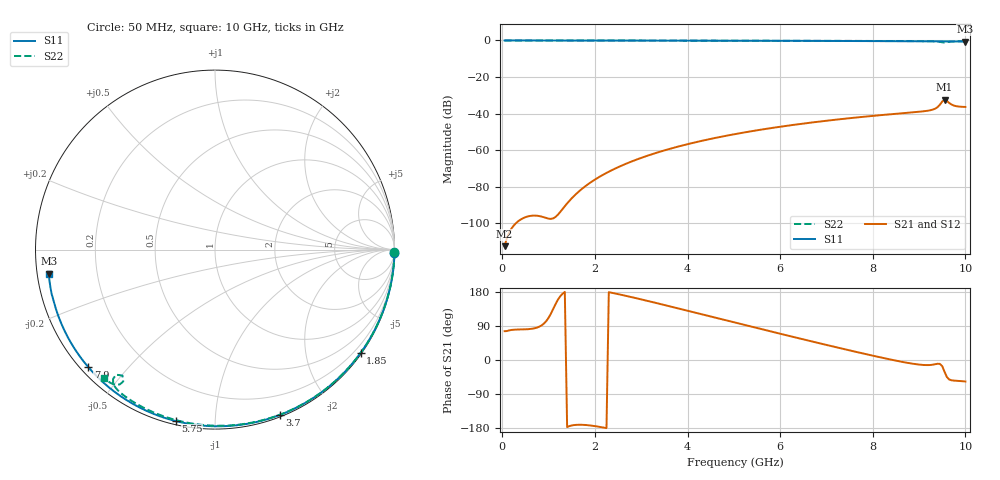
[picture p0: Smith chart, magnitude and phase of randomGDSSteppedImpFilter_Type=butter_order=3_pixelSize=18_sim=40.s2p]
! freq	dB(S11)	phase(S11)	dB(S12)	phase(S12)
!  dB(S21)	phase(S21)	dB(S22)	phase(S22)
!S-par simulation data
#  GHz  S  DB  R 50
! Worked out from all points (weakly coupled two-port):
!   200 points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, 50 MHz to 10 GHz, reference 50 ohm
!   highest |S21| = -32.36 dB at 9.55 GHz (marker M1); lowest = -112.4 dB at 50 MHz (marker M2)
!   lowest |S11| = -0.6 dB at 10 GHz (marker M3), VSWR 30.32, Z = 1.66 - j3.57 ohm
!   |S11| at or under -10 dB: nowhere
!   |S22| runs from -1.2 to 0.0 dB; largest |S21 - S12| = 0
!   S11 on the Smith chart (normalised r, x): 50 MHz: open; 1.85 GHz: 0.03, -3.14; 3.7 GHz: 0.02, -1.46; 5.75 GHz: 0.02, -0.80; 7.9 GHz: 0.02, -0.39; 10 GHz: 0.03, -0.07
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0.05  -0.00 -1.0  -112.44 76.0  -112.44 76.0  -0.00 -0.8
0.85  -0.02 -16.4  -96.27 91.5  -96.27 91.5  -0.02 -12.9
1.75  -0.04 -33.4  -80.51 -171.1  -80.51 -171.1  -0.03 -26.3
1.85  -0.04 -35.3  -78.60 -172.1  -78.60 -172.1  -0.04 -27.8
2.15  -0.05 -40.9  -73.77 -177.5  -73.77 -177.5  -0.04 -32.2
2.5  -0.06 -47.3  -69.28 173.9  -69.28 173.9  -0.05 -37.3
2.9  -0.07 -54.5  -65.10 162.8  -65.10 162.8  -0.06 -43.1
3.4  -0.08 -63.4  -60.84 148.2  -60.84 148.2  -0.07 -50.1
3.7  -0.09 -68.7  -58.66 139.1  -58.66 139.1  -0.07 -54.3
4.35  -0.11 -79.8  -54.62 119.4  -54.62 119.4  -0.09 -63.2
5.05  -0.14 -91.5  -51.07 98.0  -51.07 98.0  -0.11 -72.5
5.75  -0.17 -102.9  -48.10 76.8  -48.10 76.8  -0.14 -81.6
6.7  -0.23 -118.1  -44.79 48.5  -44.79 48.5  -0.18 -93.5
7.9  -0.33 -137.1  -41.47 14.1  -41.47 14.1  -0.26 -108.0
8.35  -0.37 -144.2  -40.41 2.1  -40.41 2.1  -0.29 -113.3
9.25  -0.48 -158.9  -38.10 -13.1  -38.10 -13.1  -0.42 -124.7
9.4  -0.50 -161.4  -36.42 -9.9  -36.42 -9.9  -0.58 -127.3
9.5  -0.51 -163.1  -33.37 -16.4  -33.37 -16.4  -1.03 -128.3
9.55  -0.51 -163.9  -32.36 -31.1  -32.36 -31.1  -1.20 -126.3
9.65  -0.52 -165.7  -34.16 -51.4  -34.16 -51.4  -0.73 -125.2
9.75  -0.53 -167.4  -35.56 -54.3  -35.56 -54.3  -0.54 -127.1
10  -0.57 -171.8  -36.33 -56.8  -36.33 -56.8  -0.48 -130.8
